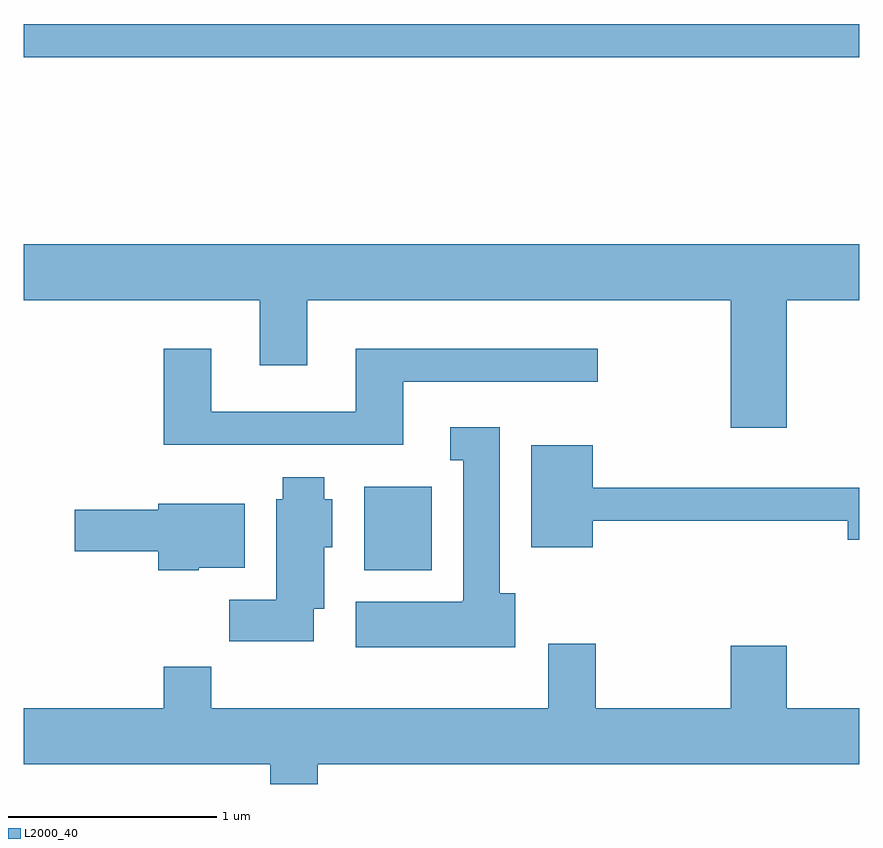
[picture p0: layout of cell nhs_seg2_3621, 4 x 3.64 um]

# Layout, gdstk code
import gdstk
lib = gdstk.Library(unit=1e-6, precision=1e-09)
def R(c, l, rs):  # rectangles x0, y0, x1, y1
    for r in rs: c.add(gdstk.rectangle(r[:2], r[2:], *l))
def P(c, l, *ps):  # polygons
    for p in ps: c.add(gdstk.Polygon(p, *l))
L2000_40 = (2000, 40)

nhs_seg2_3621 = lib.new_cell('nhs_seg2_3621')
R(nhs_seg2_3621, L2000_40, [(293.241,1024.826,293.564,1025.224), (291.611,1027.281,295.611,1027.439)])
P(nhs_seg2_3621, L2000_40, [(295.264,1026.116),(295.611,1026.116),(295.611,1026.384),(291.611,1026.384),(291.611,1026.116),(292.741,1026.116),(292.741,1025.806),(292.969,1025.806),(292.969,1026.116),(294.996,1026.116),(294.996,1025.506),(295.264,1025.506)],
  [(293.429,1025.726),(294.358,1025.726),(294.358,1025.884),(293.201,1025.884),(293.201,1025.584),(292.509,1025.584),(292.509,1025.884),(292.281,1025.884),(292.281,1025.426),(293.429,1025.426)],
  [(293.964,1024.714),(293.889,1024.714),(293.889,1025.509),(293.653,1025.509),(293.653,1025.351),(293.716,1025.351),(293.716,1024.68),(293.71,1024.68),(293.71,1024.674),(293.201,1024.674),(293.201,1024.456),(293.964,1024.456)],
  [(294.334,1025.061),(295.556,1025.061),(295.556,1024.971),(295.611,1024.971),(295.611,1025.219),(294.334,1025.219),(294.334,1025.424),(294.041,1025.424),(294.041,1024.936),(294.334,1024.936)],
  [(292.999,1024.641),(293.049,1024.641),(293.049,1024.936),(293.089,1024.936),(293.089,1025.164),(293.049,1025.164),(293.049,1025.269),(292.851,1025.269),(292.851,1025.164),(292.821,1025.164),(292.821,1024.684),(292.596,1024.684),(292.596,1024.486),(292.999,1024.486)],
  [(292.45,1024.836),(292.669,1024.836),(292.669,1025.144),(292.256,1025.144),(292.256,1025.114),(291.856,1025.114),(291.856,1024.916),(292.256,1024.916),(292.256,1024.826),(292.45,1024.826)],
  [(293.019,1023.896),(295.611,1023.896),(295.611,1024.164),(295.264,1024.164),(295.264,1024.464),(294.996,1024.464),(294.996,1024.164),(294.349,1024.164),(294.349,1024.474),(294.121,1024.474),(294.121,1024.164),(292.509,1024.164),(292.509,1024.364),(292.281,1024.364),(292.281,1024.164),(291.611,1024.164),(291.611,1023.896),(292.791,1023.896),(292.791,1023.802),(293.019,1023.802)])

lib.write_gds('nhs_seg2_3621.gds')
